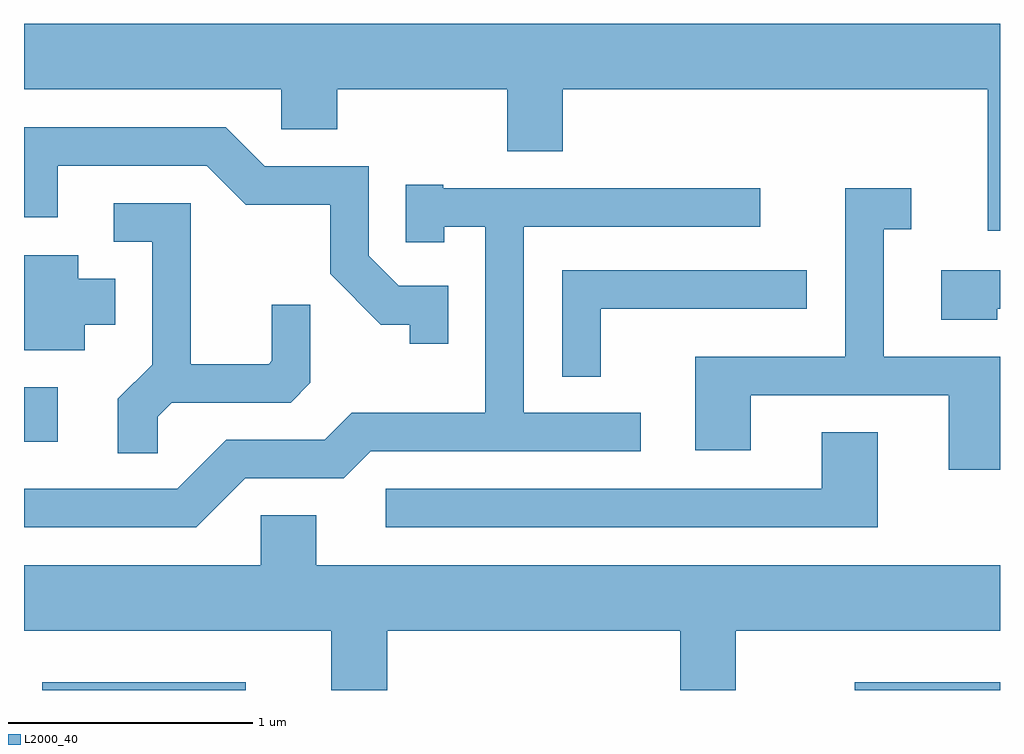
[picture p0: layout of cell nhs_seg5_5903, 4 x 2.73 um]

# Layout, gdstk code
import gdstk
lib = gdstk.Library(unit=1e-6, precision=1e-09)
def R(c, l, rs):  # rectangles x0, y0, x1, y1
    for r in rs: c.add(gdstk.rectangle(r[:2], r[2:], *l))
def P(c, l, *ps):  # polygons
    for p in ps: c.add(gdstk.Polygon(p, *l))
L2000_40 = (2000, 40)

nhs_seg5_5903 = lib.new_cell('nhs_seg5_5903')
R(nhs_seg5_5903, L2000_40, [(359.686,1492.072,360.519,1492.104), (363.016,1492.072,363.611,1492.104), (359.611,1493.091,359.749,1493.314)])
P(nhs_seg5_5903, L2000_40, [(363.611,1494.804),(359.611,1494.804),(359.611,1494.536),(360.666,1494.536),(360.666,1494.371),(360.894,1494.371),(360.894,1494.536),(361.591,1494.536),(361.591,1494.281),(361.819,1494.281),(361.819,1494.536),(363.561,1494.536),(363.561,1493.956),(363.611,1493.956)],
  [(361.349,1493.729),(361.147,1493.729),(361.024,1493.852),(361.024,1494.219),(360.597,1494.219),(360.437,1494.379),(359.611,1494.379),(359.611,1494.011),(359.749,1494.011),(359.749,1494.221),(360.359,1494.221),(360.519,1494.061),(360.866,1494.061),(360.866,1493.779),(361.074,1493.571),(361.191,1493.571),(361.191,1493.493),(361.349,1493.493)],
  [(360.517,1492.941),(360.922,1492.941),(361.032,1493.051),(362.138,1493.051),(362.138,1493.209),(361.659,1493.209),(361.659,1493.971),(362.628,1493.971),(362.628,1494.129),(361.33,1494.129),(361.33,1494.144),(361.176,1494.144),(361.176,1493.908),(361.334,1493.908),(361.334,1493.971),(361.501,1493.971),(361.501,1493.209),(360.954,1493.209),(360.844,1493.099),(360.439,1493.099),(360.239,1492.899),(359.611,1492.899),(359.611,1492.741),(360.317,1492.741)],
  [(363.611,1493.439),(363.134,1493.439),(363.134,1493.961),(363.248,1493.961),(363.248,1494.129),(362.976,1494.129),(362.976,1493.439),(362.361,1493.439),(362.361,1493.056),(362.589,1493.056),(362.589,1493.281),(363.401,1493.281),(363.401,1492.976),(363.611,1492.976)],
  [(360.159,1493.194),(360.217,1493.251),(360.704,1493.251),(360.784,1493.332),(360.784,1493.653),(360.626,1493.653),(360.626,1493.422),(360.614,1493.409),(360.294,1493.409),(360.294,1494.069),(359.978,1494.069),(359.978,1493.911),(360.136,1493.911),(360.136,1493.407),(359.996,1493.267),(359.996,1493.043),(360.159,1493.043)],
  [(359.859,1493.571),(359.984,1493.571),(359.984,1493.759),(359.834,1493.759),(359.834,1493.854),(359.611,1493.854),(359.611,1493.466),(359.859,1493.466)],
  [(363.599,1493.636),(363.611,1493.636),(363.611,1493.794),(363.371,1493.794),(363.371,1493.591),(363.599,1493.591)],
  [(361.974,1493.636),(362.818,1493.636),(362.818,1493.794),(361.816,1493.794),(361.816,1493.358),(361.974,1493.358)],
  [(363.109,1493.129),(362.881,1493.129),(362.881,1492.899),(361.093,1492.899),(361.093,1492.741),(363.109,1492.741)],
  [(361.099,1492.316),(362.301,1492.316),(362.301,1492.072),(362.529,1492.072),(362.529,1492.316),(363.611,1492.316),(363.611,1492.584),(360.809,1492.584),(360.809,1492.789),(360.581,1492.789),(360.581,1492.584),(359.611,1492.584),(359.611,1492.316),(360.871,1492.316),(360.871,1492.072),(361.099,1492.072)])

lib.write_gds('nhs_seg5_5903.gds')
